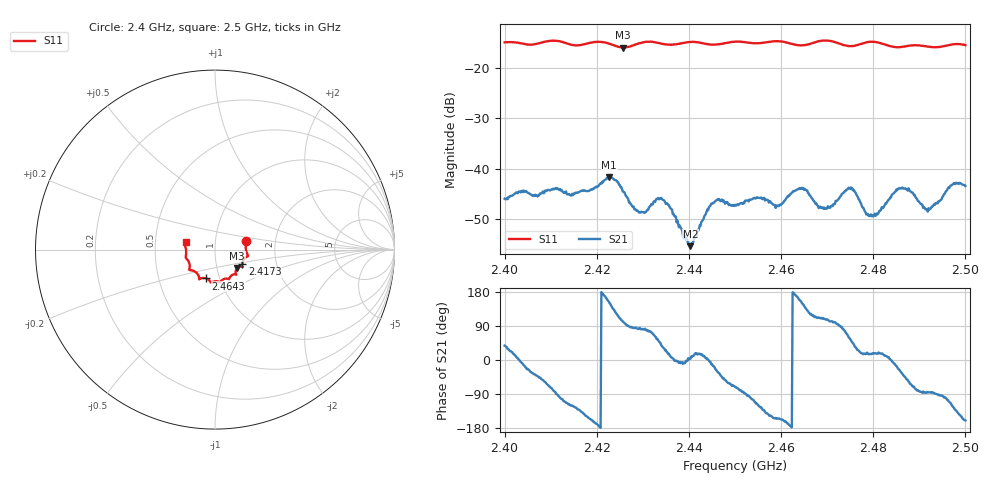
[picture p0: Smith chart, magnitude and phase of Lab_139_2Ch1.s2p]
# Hz S RI R 50
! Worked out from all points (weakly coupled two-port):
!   601 points, 2.4 GHz to 2.5 GHz, reference 50 ohm
!   highest |S21| = -41.69 dB at 2.4227 GHz (marker M1); lowest = -55.4 dB at 2.4403 GHz (marker M2)
!   lowest |S11| = -15.9 dB at 2.4257 GHz (marker M3), VSWR 1.38, Z = 62.5 - j13.1 ohm
!   |S11| at or under -10 dB: start of sweep to end of sweep
!   S12 and S22 are empty: the file has one direction only
!   S11 on the Smith chart (normalised r, x): 2.4 GHz: 1.41, +0.14; 2.4173 GHz: 1.34, -0.23; 2.4643 GHz: 0.86, -0.28; 2.5 GHz: 0.72, +0.06
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2.4e9  0.1732 0.0489  0.00398 0.00309  0 0  0 0
2.416667e9  0.1528 -0.0745  -0.00445 -0.00409  0 0  0 0
2.417333e9  0.1519 -0.0819  -0.00489 -0.00365  0 0  0 0
2.422667e9  0.1477 -0.0941  -0.00732 0.00377  0 0  0 0
2.425667e9  0.1232 -0.1023  -0.00116 0.00583  0 0  0 0
2.4295e9  0.1165 -0.1346  0.000548 0.00363  0 0  0 0
2.433333e9  0.1127 -0.1377  0.00316 0.00403  0 0  0 0
2.435833e9  0.0953 -0.1418  0.00408 0.000825  0 0  0 0
2.440333e9  0.0786 -0.1641  0.0017 9.45e-05  0 0  0 0
2.445333e9  0.0531 -0.1625  0.00442 -0.00132  0 0  0 0
2.45e9  0.0288 -0.181  0.00143 -0.00416  0 0  0 0
2.459333e9  -0.0232 -0.1835  -0.00389 -0.00184  0 0  0 0
2.464333e9  -0.05 -0.1606  -0.0057 0.00274  0 0  0 0
2.466667e9  -0.0759 -0.159  -0.00243 0.00449  0 0  0 0
2.470167e9  -0.0881 -0.1655  -0.00114 0.0041  0 0  0 0
2.475167e9  -0.1079 -0.1251  0.00407 0.00512  0 0  0 0
2.4795e9  -0.1428 -0.1142  0.00339 0.000974  0 0  0 0
2.483333e9  -0.1407 -0.0896  0.00487 0.000663  0 0  0 0
2.486833e9  -0.154 -0.0564  0.00459 -0.00442  0 0  0 0
2.492e9  -0.161 -0.0256  0.000315 -0.00404  0 0  0 0
2.497167e9  -0.1697 0.0279  -0.00367 -0.00591  0 0  0 0
2.5e9  -0.1637 0.0428  -0.00632 -0.00236  0 0  0 0
